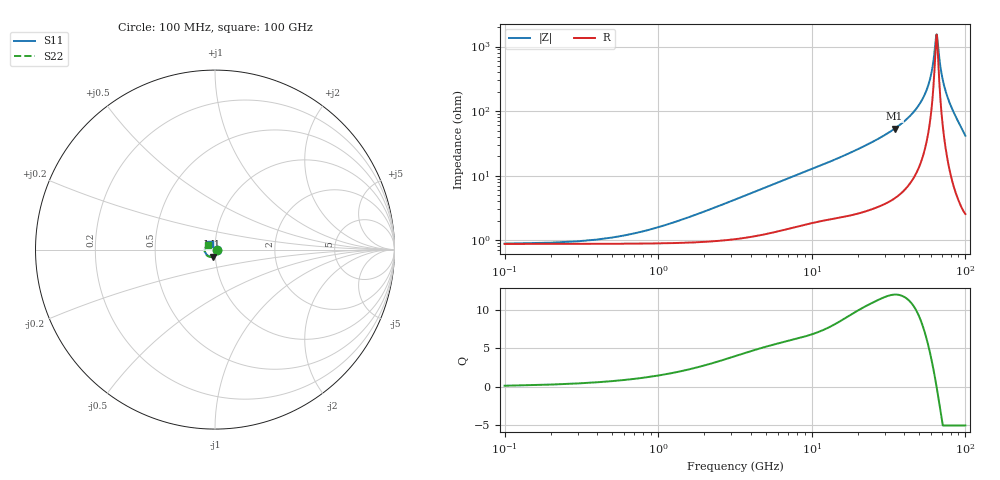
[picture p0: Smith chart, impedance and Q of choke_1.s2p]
#  Hz  S  RI  R  50
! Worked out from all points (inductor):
!   1000 points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, 100 MHz to 100 GHz, reference 50 ohm
!   read as 1/Y11, port 2 shorted: L = 207 pH near 2.2 GHz
!   highest Q = 12 at 34.6 GHz (marker M1), where L = 244 pH
!   self-resonance near 64.95 GHz
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1e8  0.00878 1.06e-05  0.9914 -0.00258  0.9914 -0.00258  0.00878 7.79e-06
1.2e9  0.00901 9.78e-05  0.9907 -0.0309  0.9907 -0.0309  0.009 6.36e-05
2.4e9  0.00964 2.14e-05  0.9886 -0.0615  0.9886 -0.0615  0.00964 -4.7e-05
7.3e9  0.0139 -0.00417  0.9683 -0.1811  0.9683 -0.1812  0.014 -0.00438
1.02e10  0.0152 -0.00925  0.9506 -0.2479  0.9505 -0.2481  0.0153 -0.00956
1.32e10  0.0146 -0.015  0.9286 -0.3152  0.9285 -0.3154  0.0148 -0.0154
1.68e10  0.0121 -0.0211  0.8965 -0.394  0.8964 -0.3942  0.0123 -0.0217
2.56e10  0.00176 -0.0327  0.7909 -0.5722  0.7906 -0.5725  0.00225 -0.0338
3.34e10  -0.0111 -0.0384  0.6687 -0.7084  0.6683 -0.7088  -0.0105 -0.0402
3.46e10  -0.0132 -0.0388  0.6478 -0.7273  0.6473 -0.7276  -0.0126 -0.0407
4.25e10  -0.0272 -0.0384  0.4976 -0.835  0.497 -0.8354  -0.0265 -0.0412
5.01e10  -0.0396 -0.0333  0.3369 -0.9102  0.3361 -0.9105  -0.0391 -0.037
5.84e10  -0.0499 -0.0233  0.1494 -0.9574  0.1484 -0.9575  -0.05 -0.0281
6.26e10  -0.0535 -0.0171  0.0521 -0.9669  0.051 -0.967  -0.054 -0.0224
6.67e10  -0.0557 -0.0104  -0.0434 -0.9668  -0.0446 -0.9667  -0.0567 -0.0162
7.08e10  -0.0566 -0.00351  -0.1384 -0.9572  -0.1395 -0.957  -0.0581 -0.00971
7.5e10  -0.0561 0.00345  -0.234 -0.9379  -0.2353 -0.9376  -0.0583 -0.00314
7.92e10  -0.0544 0.0101  -0.3274 -0.9091  -0.3286 -0.9087  -0.0572 0.00324
8.34e10  -0.0514 0.0163  -0.4174 -0.871  -0.4187 -0.8704  -0.055 0.00924
9.13e10  -0.0428 0.0255  -0.5742 -0.7759  -0.5754 -0.775  -0.048 0.0183
9.64e10  -0.036 0.0295  -0.6651 -0.6994  -0.6663 -0.6984  -0.0422 0.0225
1e11  -0.0306 0.0313  -0.7233 -0.6386  -0.7244 -0.6374  -0.0376 0.0245
